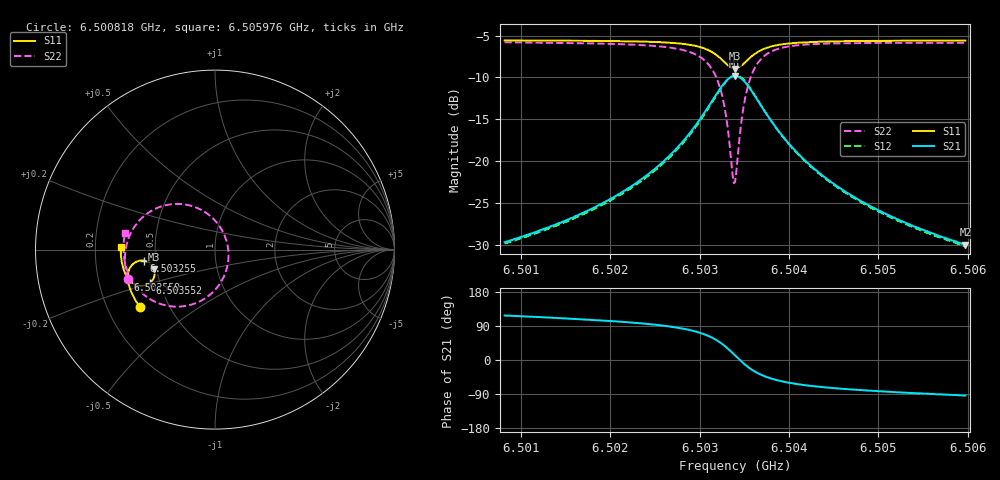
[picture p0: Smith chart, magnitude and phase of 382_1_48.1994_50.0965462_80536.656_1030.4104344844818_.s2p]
#  HZ  S  RI  R  50.00
! Rohde & Schwarz Vector Network Analyzer
! Rohde-Schwarz,ZNB20-2Port,1311601062101988,3.16
! Created: UTC 3/20/2024, 11:53:09 AM
! freq[Hz]  re:S11  im:S11  re:S21  im:S21  re:S12  im:S12  re:S22  im:S22
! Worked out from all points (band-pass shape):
!   401 points, 6.500818 GHz to 6.505976 GHz, reference 50 ohm
!   highest |S21| = -9.81 dB at 6.503397 GHz (marker M1); lowest = -30.0 dB at 6.505976 GHz (marker M2)
!   |S21| within 3 dB of the highest: 6.503139 GHz to 6.503655 GHz (516 kHz wide, 0.00793 % of centre)
!   lowest |S11| = -9.0 dB at 6.503397 GHz (marker M3), VSWR 2.11, Z = 24.2 - j6.07 ohm
!   |S11| at or under -10 dB: nowhere
!   |S22| runs from -22.6 to -5.8 dB; largest |S21 - S12| = 0.011
!   S11 on the Smith chart (normalised r, x): 6.500818 GHz: 0.34, -0.30; 6.502559 GHz: 0.33, -0.15; 6.503255 GHz: 0.43, -0.06; 6.503552 GHz: 0.44, -0.20; 6.505976 GHz: 0.31, +0.01
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6.5008177e9  -0.4202 -0.3174  -0.0151 0.029  -0.0134 0.0291  -0.4858 -0.1663
6.5016817e9  -0.4582 -0.2546  -0.0146 0.0464  -0.0122 0.0461  -0.5012 -0.0765
6.502146e9  -0.4749 -0.2142  -0.0119 0.0647  -0.00905 0.0636  -0.4996 -0.0126
6.5025458e9  -0.4851 -0.1712  -0.00332 0.0941  0.000242 0.092  -0.4814 0.0643
6.5025586e9  -0.4854 -0.1696  -0.00262 0.0956  0.000901 0.0933  -0.4802 0.0674
6.5028037e9  -0.4848 -0.1345  0.0153 0.1282  0.019 0.1245  -0.4424 0.1369
6.5029842e9  -0.4737 -0.1013  0.0494 0.1643  0.0526 0.1588  -0.3751 0.2026
6.5031519e9  -0.4395 -0.0682  0.1261 0.1975  0.1272 0.1911  -0.2347 0.2536
6.503255e9  -0.3973 -0.0611  0.2103 0.1893  0.2105 0.1839  -0.088 0.227
6.5033066e9  -0.3721 -0.0695  0.2583 0.1618  0.2589 0.1573  -0.00838 0.1709
6.5033711e9  -0.3456 -0.0954  0.3057 0.0995  0.3081 0.0945  0.0634 0.0509
6.5033969e9  -0.3392 -0.1096  0.316 0.0678  0.319 0.062  0.0745 -0.00798
6.5034098e9  -0.3374 -0.1172  0.3188 0.0513  0.3219 0.0451  0.0754 -0.0382
6.5034872e9  -0.343 -0.1615  0.3025 -0.0421  0.3045 -0.0518  0.0194 -0.2015
6.5035516e9  -0.3639 -0.187  0.2606 -0.0955  0.2594 -0.1066  -0.0751 -0.2833
6.5036548e9  -0.4027 -0.2019  0.1873 -0.1318  0.1821 -0.1408  -0.2225 -0.3177
6.5038225e9  -0.4483 -0.1924  0.1068 -0.129  0.1 -0.1339  -0.3673 -0.2722
6.504003e9  -0.4754 -0.171  0.0633 -0.1096  0.0571 -0.1116  -0.4384 -0.2084
6.5042609e9  -0.4961 -0.1409  0.0336 -0.0858  0.0289 -0.0864  -0.4812 -0.1372
6.5046607e9  -0.5119 -0.1  0.0144 -0.0625  0.0112 -0.0622  -0.5038 -0.0607
6.505125e9  -0.521 -0.0575  0.00507 -0.047  0.00275 -0.0464  -0.5097 0.00306
6.5059761e9  -0.5258 0.0142  -0.00209 -0.0315  -0.00353 -0.0308  -0.5016 0.0915
